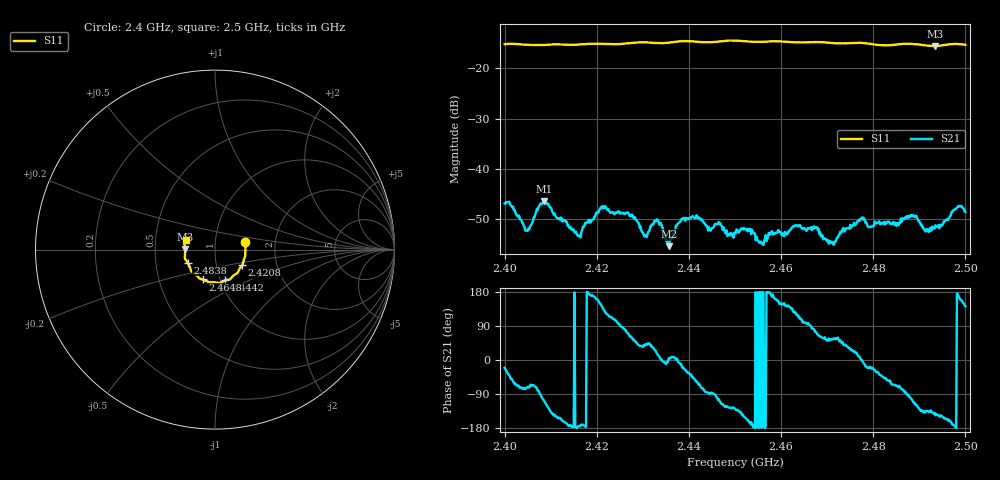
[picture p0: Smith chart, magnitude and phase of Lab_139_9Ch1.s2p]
# Hz S RI R 50
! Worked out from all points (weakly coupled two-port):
!   601 points, 2.4 GHz to 2.5 GHz, reference 50 ohm
!   highest |S21| = -46.34 dB at 2.4085 GHz (marker M1); lowest = -55.3 dB at 2.4357 GHz (marker M2)
!   lowest |S11| = -15.6 dB at 2.4935 GHz (marker M3), VSWR 1.40, Z = 35.8 + j0.211 ohm
!   |S11| at or under -10 dB: start of sweep to end of sweep
!   S12 and S22 are empty: the file has one direction only
!   S11 on the Smith chart (normalised r, x): 2.4 GHz: 1.40, +0.12; 2.4208 GHz: 1.33, -0.24; 2.4442 GHz: 1.05, -0.37; 2.4648 GHz: 0.83, -0.28; 2.4838 GHz: 0.73, -0.11; 2.5 GHz: 0.72, +0.08
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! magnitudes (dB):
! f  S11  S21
! 2.4 GHz  -15.2  -46.8
! 2.4048 GHz  -15.4  -52.2
! 2.4085 GHz  -15.4  -46.3
! 2.4167 GHz  -15.3  -52.5
! 2.4208 GHz  -15.2  -47.6
! 2.4272 GHz  -15.0  -49.3
! 2.4305 GHz  -14.9  -53.1
! 2.4333 GHz  -15.0  -50.1
! 2.4357 GHz  -14.9  -55.3
! 2.4388 GHz  -14.6  -49.7
! 2.4442 GHz  -14.9  -52.2
! 2.45 GHz  -14.5  -52.7
! 2.4557 GHz  -14.8  -54.5
! 2.4648 GHz  -14.9  -51.8
! 2.4667 GHz  -14.8  -52.1
! 2.471 GHz  -15.0  -54.7
! 2.4772 GHz  -15.0  -49.9
! 2.4833 GHz  -15.5  -50.5
! 2.4838 GHz  -15.4  -50.9
! 2.4887 GHz  -15.2  -49.2
! 2.4935 GHz  -15.6  -51.2
! 2.5 GHz  -15.3  -48.5
